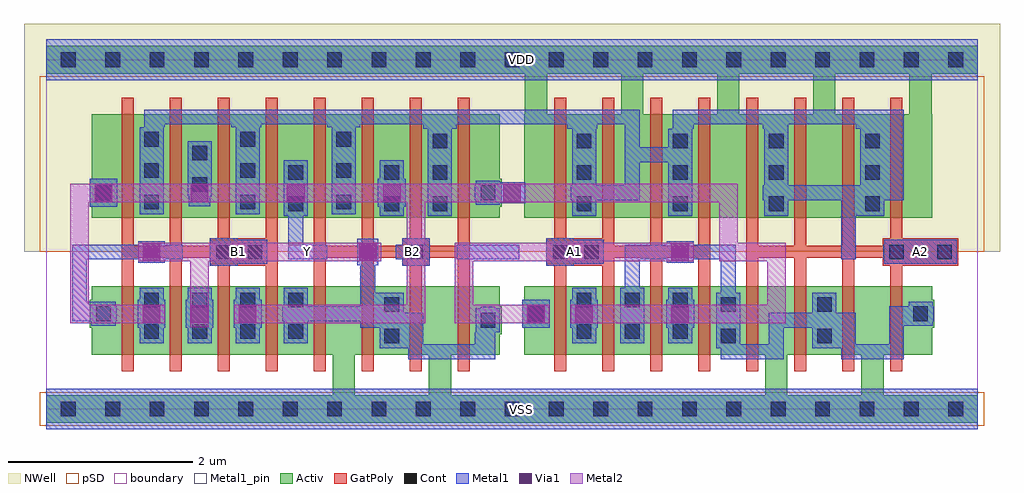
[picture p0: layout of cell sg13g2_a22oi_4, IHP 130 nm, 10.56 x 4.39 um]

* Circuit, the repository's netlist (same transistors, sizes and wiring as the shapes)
.SUBCKT sg13g2_a22oi_4 Y A1 A2 B1 B2 VDD VSS
*.PININFO A1:I A2:I B1:I B2:I Y:O VDD:B VSS:B
MN0 net1 B2 VSS VSS sg13_lv_nmos w=2.96u l=130.00n ng=4
MN1 Y B1 net1 VSS sg13_lv_nmos w=2.96u l=130.00n ng=4
MN2 net2 A2 VSS VSS sg13_lv_nmos w=2.96u l=130.00n ng=4
MN3 Y A1 net2 VSS sg13_lv_nmos w=2.96u l=130.00n ng=4
MP0 Y B1 net3 VDD sg13_lv_pmos w=4.48u l=130.00n ng=4
MP1 Y B2 net3 VDD sg13_lv_pmos w=4.48u l=130.00n ng=4
MP2 net3 A2 VDD VDD sg13_lv_pmos w=4.48u l=130.00n ng=4
MP3 net3 A1 VDD VDD sg13_lv_pmos w=4.48u l=130.00n ng=4
.ENDS

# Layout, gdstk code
import gdstk
lib = gdstk.Library(unit=1e-6, precision=1e-09)
def R(c, l, rs):  # rectangles x0, y0, x1, y1
    for r in rs: c.add(gdstk.rectangle(r[:2], r[2:], *l))
def A(c, l, x, y, w, h, nx, ny, dx, dy):  # array of equal rectangles
    R(c, l, [(x+i*dx, y+j*dy, x+i*dx+w, y+j*dy+h) for i in range(nx) for j in range(ny)])
def P(c, l, *ps):  # polygons
    for p in ps: c.add(gdstk.Polygon(p, *l))
Activ = (1, 0)
GatPoly = (5, 0)
Cont = (6, 0)
Metal1 = (8, 0)
Metal1_pin = (8, 2)
Metal2 = (10, 0)
pSD = (14, 0)
Via1 = (19, 0)
NWell = (31, 0)
boundary = (189, 4)

sg13g2_a22oi_4 = lib.new_cell('sg13g2_a22oi_4')
P(sg13g2_a22oi_4, Activ, [(8.02,0.59),(8.02,1.33),(5.175,1.33),(5.175,1.18),(5.15,1.18),(5.15,0.88),(5.175,0.88),(5.175,0.59),(7.78,0.59),(7.78,0.15),(4.38,0.15),(4.38,0.59),(4.905,0.59),(4.905,0.81),(4.93,0.81),(4.93,1.11),(4.905,1.11),(4.905,1.33),(3.34,1.33),(3.34,0.59),(3.34,1.33),(0.495,1.33),(0.495,1.18),(0.47,1.18),(0.47,0.88),(0.495,0.88),(0.495,0.59),(3.1,0.59),(3.1,0.15),(0,0.15),(0,-0.15),(3.34,-0.15),(3.34,0.59),(4.14,0.59),(4.14,0.15),(3.34,0.15),(3.34,-0.15),(8.02,-0.15),(8.02,0.59),(8.82,0.59),(8.82,0.15),(8.02,0.15),(8.02,-0.15),(10.08,-0.15),(10.08,0.15),(9.06,0.15),(9.06,0.59),(9.585,0.59),(9.585,0.88),(9.61,0.88),(9.61,1.18),(9.585,1.18),(9.585,1.33),(8.02,1.33)],
  [(5.18,3.19),(5.42,3.19),(5.42,3.63),(6.22,3.63),(6.22,3.19),(6.46,3.19),(6.46,3.63),(7.26,3.63),(7.26,3.19),(7.5,3.19),(7.5,3.63),(8.3,3.63),(8.3,3.19),(8.54,3.19),(8.54,3.63),(9.34,3.63),(9.34,3.19),(9.58,3.19),(9.58,3.63),(10.08,3.63),(10.08,3.93),(0,3.93),(0,3.63),(5.18,3.63),(5.18,3.19),(5.175,3.19),(5.175,2.07),(9.585,2.07),(9.585,3.19)],
  [(0.47,2.19),(0.495,2.19),(0.495,2.07),(4.905,2.07),(4.905,2.19),(4.93,2.19),(4.93,2.49),(4.905,2.49),(4.905,3.19),(0.495,3.19),(0.495,2.49),(0.47,2.49)])
P(sg13g2_a22oi_4, GatPoly, [(0.815,0.41),(0.945,0.41),(0.945,1.635),(1.335,1.635),(1.335,0.41),(1.465,0.41),(1.465,1.635),(1.77,1.635),(1.77,1.55),(1.855,1.55),(1.855,0.41),(1.985,0.41),(1.985,1.55),(2.375,1.55),(2.375,0.41),(2.505,0.41),(2.505,3.37),(2.375,3.37),(2.375,1.85),(1.985,1.85),(1.985,3.37),(1.855,3.37),(1.855,1.85),(1.77,1.85),(1.77,1.765),(1.465,1.765),(1.465,3.37),(1.335,3.37),(1.335,1.765),(0.945,1.765),(0.945,3.37),(0.815,3.37)],
  [(2.895,0.41),(3.025,0.41),(3.025,1.635),(3.415,1.635),(3.415,0.41),(3.545,0.41),(3.545,1.635),(3.85,1.635),(3.85,1.55),(3.935,1.55),(3.935,0.41),(4.065,0.41),(4.065,1.55),(4.15,1.55),(4.15,1.635),(4.455,1.635),(4.455,0.41),(4.585,0.41),(4.585,3.37),(4.455,3.37),(4.455,1.765),(4.15,1.765),(4.15,1.85),(4.065,1.85),(4.065,3.37),(3.935,3.37),(3.935,1.85),(3.85,1.85),(3.85,1.765),(3.545,1.765),(3.545,3.37),(3.415,3.37),(3.415,1.765),(3.025,1.765),(3.025,3.37),(2.895,3.37)],
  [(5.41,1.55),(5.495,1.55),(5.495,0.41),(5.625,0.41),(5.625,1.55),(6.015,1.55),(6.015,0.41),(6.145,0.41),(6.145,1.635),(6.535,1.635),(6.535,0.41),(6.665,0.41),(6.665,1.635),(7.055,1.635),(7.055,0.41),(7.185,0.41),(7.185,3.37),(7.055,3.37),(7.055,1.765),(6.665,1.765),(6.665,3.37),(6.535,3.37),(6.535,1.765),(6.145,1.765),(6.145,3.37),(6.015,3.37),(6.015,1.85),(5.625,1.85),(5.625,3.37),(5.495,3.37),(5.495,1.85),(5.41,1.85)],
  [(7.575,0.41),(7.705,0.41),(7.705,1.635),(8.095,1.635),(8.095,0.41),(8.225,0.41),(8.225,1.635),(8.615,1.635),(8.615,0.41),(8.745,0.41),(8.745,1.635),(9.05,1.635),(9.05,1.55),(9.135,1.55),(9.135,0.41),(9.265,0.41),(9.265,1.55),(9.87,1.55),(9.87,1.85),(9.265,1.85),(9.265,3.37),(9.135,3.37),(9.135,1.85),(9.05,1.85),(9.05,1.765),(8.745,1.765),(8.745,3.37),(8.615,3.37),(8.615,1.765),(8.225,1.765),(8.225,3.37),(8.095,3.37),(8.095,1.765),(7.705,1.765),(7.705,3.37),(7.575,3.37)])
A(sg13g2_a22oi_4, Cont, 0.16, -0.08, 0.16, 0.16, 21, 2, 0.48, 3.78)
A(sg13g2_a22oi_4, Cont, 1.06, 0.76, 0.16, 0.16, 4, 2, 0.52, 0.34)
A(sg13g2_a22oi_4, Cont, 5.74, 0.76, 0.16, 0.16, 3, 2, 0.52, 0.34)
A(sg13g2_a22oi_4, Cont, 4.18, 2.14, 0.16, 0.16, 1, 3, 0, 0.34)
A(sg13g2_a22oi_4, Cont, 5.74, 2.14, 0.16, 0.16, 4, 3, 1.04, 0.34)
A(sg13g2_a22oi_4, Cont, 1.06, 2.16, 0.16, 0.16, 3, 3, 1.04, 0.34)
R(sg13g2_a22oi_4, Cont, [(3.66,0.71,3.82,0.87), (7.3,0.71,7.46,0.87), (8.34,0.71,8.5,0.87), (4.7,0.88,4.86,1.04), (0.54,0.95,0.7,1.11), (5.22,0.95,5.38,1.11), (9.38,0.95,9.54,1.11), (3.66,1.05,3.82,1.21), (7.3,1.05,7.46,1.21), (8.34,1.05,8.5,1.21), (1.84,1.62,2,1.78), (2.18,1.62,2.34,1.78), (3.92,1.62,4.08,1.78), (5.48,1.62,5.64,1.78), (5.82,1.62,5.98,1.78), (9.12,1.62,9.28,1.78), (9.64,1.62,9.8,1.78), (2.62,2.14,2.78,2.3), (3.66,2.14,3.82,2.3), (0.54,2.26,0.7,2.42), (4.7,2.26,4.86,2.42), (1.58,2.35,1.74,2.51), (2.62,2.48,2.78,2.64), (3.66,2.48,3.82,2.64), (1.58,2.69,1.74,2.85)])
R(sg13g2_a22oi_4, Metal1, [(0,-0.22,10.08,0.22), (5.15,0.88,5.45,1.18), (4.44,1.62,5.12,1.78), (0.47,2.19,0.77,2.49), (0,3.56,10.08,4)])
P(sg13g2_a22oi_4, Metal1, [(0.28,0.95),(0.49,0.95),(0.49,0.9),(0.75,0.9),(0.75,0.95),(0.765,0.95),(0.765,1.11),(0.75,1.11),(0.75,1.16),(0.44,1.16),(0.44,1.62),(0.995,1.62),(0.995,1.585),(1.285,1.585),(1.285,1.62),(1.48,1.62),(1.48,1.78),(1.285,1.78),(1.285,1.815),(0.995,1.815),(0.995,1.78),(0.28,1.78)],
  [(0.99,0.88),(1.01,0.88),(1.01,0.71),(1.27,0.71),(1.27,0.88),(1.29,0.88),(1.29,1.18),(1.27,1.18),(1.27,1.31),(1.01,1.31),(1.01,1.18),(0.99,1.18)],
  [(8.03,3.08),(8.03,3.24),(6.78,3.24),(6.78,3.03),(6.73,3.03),(6.73,2.83),(6.42,2.83),(6.42,3.24),(5.95,3.24),(5.95,3.03),(5.95,3.24),(1.06,3.24),(1.06,3.05),(1.01,3.05),(1.01,2.11),(1.27,2.11),(1.27,3.05),(1.285,3.05),(1.285,3.08),(2,3.08),(2,3.05),(2.05,3.05),(2.05,2.11),(2.31,2.11),(2.31,3.05),(2.325,3.05),(2.325,3.08),(3.04,3.08),(3.04,3.05),(3.09,3.05),(3.09,2.11),(3.35,2.11),(3.35,3.05),(3.4,3.05),(3.4,3.08),(4.08,3.08),(4.08,3.03),(4.13,3.03),(4.13,2.09),(4.39,2.09),(4.39,3.03),(4.44,3.03),(4.44,3.08),(5.64,3.08),(5.64,3.03),(5.69,3.03),(5.69,2.42),(5.675,2.42),(5.675,2.26),(5.69,2.26),(5.69,2.09),(5.95,2.09),(5.95,3.03),(5.965,3.03),(5.965,3.08),(6.26,3.08),(6.26,2.42),(5.95,2.42),(5.95,2.26),(6.42,2.26),(6.42,2.67),(6.73,2.67),(6.73,2.09),(6.99,2.09),(6.99,3.03),(7.005,3.03),(7.005,3.08),(7.755,3.08),(7.755,3.03),(7.77,3.03),(7.77,2.42),(7.755,2.42),(7.755,2.26),(7.77,2.26),(7.77,2.09),(8.03,2.09),(8.03,3.08),(8.76,3.08),(8.76,3.03),(8.81,3.03),(8.81,2.42),(8.03,2.42),(8.03,2.26),(8.6,2.26),(8.6,1.62),(8.76,1.62),(8.76,2.09),(9.07,2.09),(9.07,2.26),(9.28,2.26),(9.28,3.24),(8.03,3.24)],
  [(1.51,0.88),(1.53,0.88),(1.53,0.71),(1.79,0.71),(1.79,0.88),(1.81,0.88),(1.81,1.18),(1.79,1.18),(1.79,1.31),(1.53,1.31),(1.53,1.18),(1.51,1.18)],
  [(1.53,2.3),(1.545,2.3),(1.545,2.195),(1.775,2.195),(1.775,2.3),(1.79,2.3),(1.79,2.9),(1.53,2.9)],
  [(1.77,1.55),(2.07,1.55),(2.07,1.57),(2.39,1.57),(2.39,1.83),(2.07,1.83),(2.07,1.85),(1.77,1.85)],
  [(2.03,0.88),(2.05,0.88),(2.05,0.71),(2.31,0.71),(2.31,0.88),(2.33,0.88),(2.33,1.18),(2.31,1.18),(2.31,1.31),(2.05,1.31),(2.05,1.18),(2.03,1.18)],
  [(2.555,0.95),(2.57,0.95),(2.57,0.71),(2.83,0.71),(2.83,0.95),(3.4,0.95),(3.4,0.88),(3.61,0.88),(3.61,0.66),(3.92,0.66),(3.92,0.54),(4.86,0.54),(4.86,0.83),(4.91,0.83),(4.91,1.09),(4.86,1.09),(4.86,1.105),(4.7,1.105),(4.7,1.09),(4.65,1.09),(4.65,0.83),(4.635,0.83),(4.635,0.7),(4.08,0.7),(4.08,1.04),(3.87,1.04),(3.87,1.26),(3.56,1.26),(3.56,1.555),(3.595,1.555),(3.595,1.845),(3.365,1.845),(3.365,1.555),(3.4,1.555),(3.4,1.11),(2.83,1.11),(2.83,1.31),(2.57,1.31),(2.57,1.11),(2.555,1.11)],
  [(2.57,2.09),(2.62,2.09),(2.62,1.62),(3.04,1.62),(3.04,1.78),(2.78,1.78),(2.78,2.09),(2.83,2.09),(2.83,2.69),(2.57,2.69)],
  [(3.59,2.19),(3.61,2.19),(3.61,2.09),(3.87,2.09),(3.87,2.19),(3.89,2.19),(3.89,2.49),(3.87,2.49),(3.87,2.69),(3.61,2.69),(3.61,2.49),(3.59,2.49)],
  [(3.78,1.62),(3.85,1.62),(3.85,1.55),(4.15,1.55),(4.15,1.85),(3.85,1.85),(3.85,1.78),(3.78,1.78)],
  [(4.635,2.26),(4.65,2.26),(4.65,2.21),(4.91,2.21),(4.91,2.225),(5.185,2.225),(5.185,2.455),(4.91,2.455),(4.91,2.47),(4.65,2.47),(4.65,2.42),(4.635,2.42)],
  [(5.41,1.55),(5.71,1.55),(5.71,1.57),(6.03,1.57),(6.03,1.83),(5.71,1.83),(5.71,1.85),(5.41,1.85)],
  [(5.67,0.88),(5.69,0.88),(5.69,0.71),(5.95,0.71),(5.95,0.88),(5.97,0.88),(5.97,1.18),(5.95,1.18),(5.95,1.31),(5.69,1.31),(5.69,1.18),(5.67,1.18)],
  [(6.21,0.71),(6.47,0.71),(6.47,1.31),(6.42,1.31),(6.42,1.62),(6.715,1.62),(6.715,1.585),(7.005,1.585),(7.005,1.62),(7.3,1.62),(7.3,1.26),(7.25,1.26),(7.25,0.66),(7.3,0.66),(7.3,0.54),(7.98,0.54),(7.98,0.88),(8.29,0.88),(8.29,0.66),(8.6,0.66),(8.6,0.54),(9.28,0.54),(9.28,0.9),(9.59,0.9),(9.59,0.95),(9.605,0.95),(9.605,1.11),(9.59,1.11),(9.59,1.16),(9.33,1.16),(9.33,1.11),(9.12,1.11),(9.12,0.7),(8.76,0.7),(8.76,1.04),(8.55,1.04),(8.55,1.26),(8.29,1.26),(8.29,1.04),(7.82,1.04),(7.82,0.7),(7.51,0.7),(7.51,1.26),(7.46,1.26),(7.46,1.78),(7.005,1.78),(7.005,1.815),(6.715,1.815),(6.715,1.78),(6.26,1.78),(6.26,1.31),(6.21,1.31)],
  [(6.71,0.88),(6.73,0.88),(6.73,0.71),(6.99,0.71),(6.99,0.88),(7.01,0.88),(7.01,1.18),(6.99,1.18),(6.99,1.31),(6.73,1.31),(6.73,1.18),(6.71,1.18)],
  [(9.055,1.62),(9.07,1.62),(9.07,1.57),(9.85,1.57),(9.85,1.83),(9.07,1.83),(9.07,1.78),(9.055,1.78)])
R(sg13g2_a22oi_4, Metal1_pin, [(0,-0.22,10.08,0.22), (1.77,1.57,2.39,1.83), (5.41,1.57,6.03,1.83), (9.07,1.57,9.85,1.83), (2.62,1.62,3.04,1.78), (3.78,1.62,4.15,1.78), (0,3.56,10.08,4)])
P(sg13g2_a22oi_4, Metal2, [(0.26,0.93),(1.285,0.93),(1.285,1.13),(0.46,1.13),(0.46,2.24),(3.9,2.24),(3.9,1.13),(2.035,1.13),(2.035,0.93),(4.1,0.93),(4.1,2.24),(7.28,2.24),(7.28,1.6),(7.8,1.6),(7.8,1.13),(5.675,1.13),(5.675,0.93),(8,0.93),(8,1.8),(7.48,1.8),(7.48,2.44),(0.26,2.44)],
  [(0.995,1.6),(1.56,1.6),(1.56,0.885),(1.76,0.885),(1.76,1.6),(3.625,1.6),(3.625,1.8),(0.995,1.8)],
  [(4.42,0.93),(5.445,0.93),(5.445,1.13),(4.62,1.13),(4.62,1.6),(7.005,1.6),(7.005,1.8),(4.42,1.8)])
R(sg13g2_a22oi_4, pSD, [(-0.07,-0.18,10.15,0.18), (-0.07,1.7,10.15,3.6)])
A(sg13g2_a22oi_4, Via1, 1.045, 0.935, 0.19, 0.19, 3, 1, 0.52, 0)
A(sg13g2_a22oi_4, Via1, 0.525, 2.245, 0.19, 0.19, 4, 1, 1.04, 0)
R(sg13g2_a22oi_4, Via1, [(5.205,0.935,5.395,1.125), (5.725,0.935,5.915,1.125), (6.765,0.935,6.955,1.125), (1.045,1.605,1.235,1.795), (3.385,1.605,3.575,1.795), (6.765,1.605,6.955,1.795), (4.945,2.245,5.135,2.435)])
R(sg13g2_a22oi_4, NWell, [(-0.24,1.7,10.32,4.17)])
R(sg13g2_a22oi_4, boundary, [(0,0,10.08,3.78)])
sg13g2_a22oi_4.add(gdstk.Label('Y', (2.83,1.7), layer=8, texttype=25))
sg13g2_a22oi_4.add(gdstk.Label('B1', (2.08,1.7), layer=8, texttype=25))
sg13g2_a22oi_4.add(gdstk.Label('B2', (3.965,1.7), layer=8, texttype=25))
sg13g2_a22oi_4.add(gdstk.Label('A1', (5.72,1.7), layer=8, texttype=25))
sg13g2_a22oi_4.add(gdstk.Label('A2', (9.46,1.7), layer=8, texttype=25))
sg13g2_a22oi_4.add(gdstk.Label('VSS', (5.14,0), layer=8, texttype=25))
sg13g2_a22oi_4.add(gdstk.Label('VDD', (5.14,3.78), layer=8, texttype=25))

lib.write_gds('sg13g2_a22oi_4.gds')
